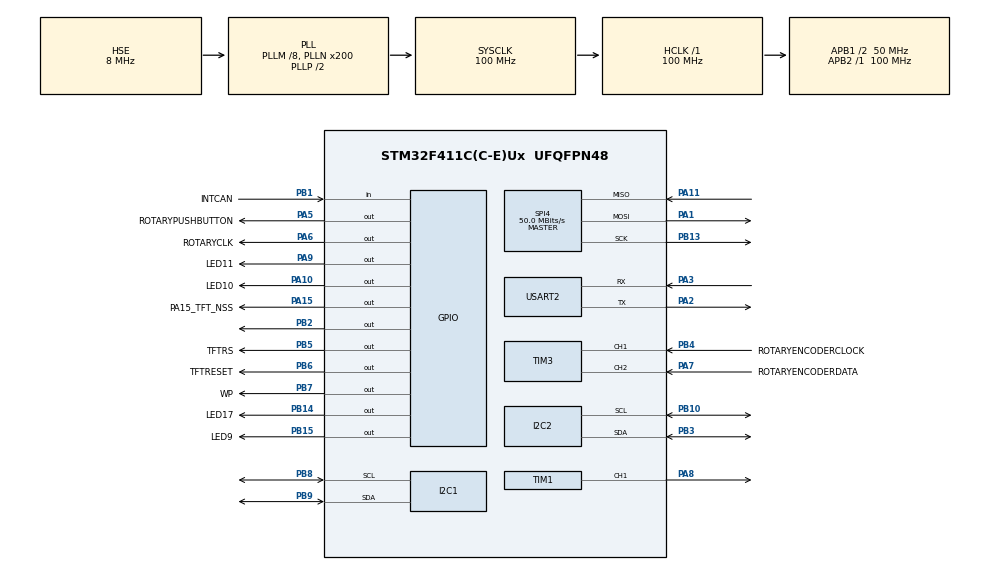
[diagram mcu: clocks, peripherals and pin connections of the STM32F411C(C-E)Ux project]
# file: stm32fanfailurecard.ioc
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FREERTOS.Tasks01=defaultTask,24,128,StartDefaultTask,Default,NULL,Dynamic,NULL,NULL
FREERTOS.configTOTAL_HEAP_SIZE=15000
Mcu.Family=STM32F4
Mcu.Name=STM32F411C(C-E)Ux
Mcu.Package=UFQFPN48
NVIC.PriorityGroup=NVIC_PRIORITYGROUP_4
NVIC.TIM4_IRQn=true\:0\:0\:true\:false\:true\:false\:false\:true\:true
NVIC.TimeBase=TIM4_IRQn
NVIC.TimeBaseIP=TIM4
PA1.Mode=Full_Duplex_Master
PA1.Signal=SPI4_MOSI
PA10.GPIO_Label=LED10
PA10.Signal=GPIO_Output
PA11.Mode=Full_Duplex_Master
PA11.Signal=SPI4_MISO
PA13.Signal=SYS_JTMS-SWDIO
PA14.Signal=SYS_JTCK-SWCLK
PA15.GPIO_Label=PA15_TFT_NSS
PA15.Signal=GPIO_Output
PA2.Mode=Asynchronous
PA2.Signal=USART2_TX
PA3.Mode=Asynchronous
PA3.Signal=USART2_RX
PA5.GPIO_Label=ROTARYPUSHBUTTON
PA5.Signal=GPIO_Output
PA6.GPIO_Label=ROTARYCLK
PA6.Signal=GPIO_Output
PA7.GPIO_Label=ROTARYENCODERDATA
PA7.Signal=S_TIM3_CH2
PA8.Signal=S_TIM1_CH1
PA9.GPIO_Label=LED11
PA9.Signal=GPIO_Output
PB1.GPIO_Label=INTCAN
PB1.Signal=GPIO_Input
PB10.Mode=I2C
PB10.Signal=I2C2_SCL
PB12.Signal=SPI4_NSS
PB13.Mode=Full_Duplex_Master
PB13.Signal=SPI4_SCK
PB14.GPIO_Label=LED17
PB14.Signal=GPIO_Output
PB15.GPIO_Label=LED9
PB15.Signal=GPIO_Output
PB2.Signal=GPIO_Output
PB3.Mode=I2C
PB3.Signal=I2C2_SDA
PB4.GPIO_Label=ROTARYENCODERCLOCK
PB4.Signal=S_TIM3_CH1
PB5.GPIO_Label=TFTRS
PB5.Signal=GPIO_Output
PB6.GPIO_Label=TFTRESET
PB6.Signal=GPIO_Output
PB7.GPIO_Label=WP
PB7.GPIO_Speed=GPIO_SPEED_FREQ_LOW
PB7.PinState=GPIO_PIN_SET
PB7.Signal=GPIO_Output
PB8.Mode=I2C
PB8.Signal=I2C1_SCL
PB9.Mode=I2C
PB9.Signal=I2C1_SDA
PC14-OSC32_IN.Mode=LSE-External-Oscillator
PC14-OSC32_IN.Signal=RCC_OSC32_IN
PC15-OSC32_OUT.Mode=LSE-External-Oscillator
PC15-OSC32_OUT.Signal=RCC_OSC32_OUT
PH0\ -\ OSC_IN.Mode=HSE-External-Oscillator
PH0\ -\ OSC_IN.Signal=RCC_OSC_IN
PH1\ -\ OSC_OUT.Mode=HSE-External-Oscillator
PH1\ -\ OSC_OUT.Signal=RCC_OSC_OUT
ProjectManager.HeapSize=0x200
ProjectManager.StackSize=0x400
ProjectManager.TargetToolchain=STM32CubeIDE
RCC.48MHZClocksFreq_Value=50000000
RCC.AHBFreq_Value=100000000
RCC.APB1CLKDivider=RCC_HCLK_DIV2
RCC.APB1Freq_Value=50000000
RCC.APB1TimFreq_Value=100000000
RCC.APB2Freq_Value=100000000
RCC.APB2TimFreq_Value=100000000
RCC.CortexFreq_Value=100000000
RCC.HCLKFreq_Value=100000000
RCC.HSE_VALUE=8000000
RCC.HSI_VALUE=16000000
RCC.PLLM=8
RCC.PLLN=200
RCC.PLLSourceVirtual=RCC_PLLSOURCE_HSE
RCC.SYSCLKFreq_VALUE=100000000
RCC.SYSCLKSource=RCC_SYSCLKSOURCE_PLLCLK
RCC.VCOOutputFreq_Value=200000000
SH.S_TIM1_CH1.0=TIM1_CH1,PWM Generation1 CH1
SH.S_TIM3_CH1.0=TIM3_CH1,Encoder_Interface
SH.S_TIM3_CH2.0=TIM3_CH2,Encoder_Interface
SPI4.BaudRatePrescaler=SPI_BAUDRATEPRESCALER_2
SPI4.CalculateBaudRate=50.0 MBits/s
SPI4.Direction=SPI_DIRECTION_2LINES
SPI4.Mode=SPI_MODE_MASTER
SPI4.VirtualType=VM_MASTER
TIM1.Channel-PWM\ Generation1\ CH1=TIM_CHANNEL_1
TIM3.EncoderMode=TIM_ENCODERMODE_TI12
TIM3.IC1Filter=15
USART2.VirtualMode=VM_ASYNC
VP_FREERTOS_VS_CMSIS_V2.Mode=CMSIS_V2
VP_RTC_VS_RTC_Activate.Mode=RTC_Enabled
VP_RTC_VS_RTC_Calendar.Mode=RTC_Calendar
VP_SYS_VS_tim4.Mode=TIM4
board=custom

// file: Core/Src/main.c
/* USER CODE BEGIN Header */
/**
  ******************************************************************************
  * @file           : main.c
  * @brief          : I2C scan + AT24CM01 self-test, ADS1115 NTC readout,
  *                   and a simple blocking WS2812B PWM+DMA driver.
  ******************************************************************************
  */
/* USER CODE END Header */
#include "main.h"
#include "cmsis_os.h"

/* USER CODE BEGIN Includes */
#include "at24cm01.h"
#include <string.h>
#include <stdbool.h>
#define NTC_VDD        3.3f
#define NTC_R_FIXED    10000.0f
#define NTC_R0         10000.0f
#define NTC_BETA       3950.0f
#define NTC_ON_BOTTOM  1        // 1 = NTC to GND, 0 = NTC to 3.3V

volatile float ntc_voltage[8];
volatile float ntc_temp[8];

/* USER CODE END Includes */

/* USER CODE BEGIN PD */

/* ---- Scanner configuration ---- */
#define I2C_SCAN_ADDR_FIRST        0x08u
#define I2C_SCAN_ADDR_LAST         0x77u
#define I2C_SCAN_ADDR_COUNT        (I2C_SCAN_ADDR_LAST - I2C_SCAN_ADDR_FIRST + 1u)  /* 112 */
#define I2C_SCAN_PROBE_TIMEOUT_MS  5u
#define I2C_SCAN_RETRIES           1u

/* ---- Write/verify configuration ---- */
#define TEST_STRING_ADDR           0x001000u

/* ---- WS2812B ----
 * TIM1 clock = 100 MHz (SYSCLK 100 MHz, APB2 /1 -> timer clock 100 MHz).
 * Prescaler = 0, Period = 124 -> 125 ticks -> 800 kHz bit rate.
 * T0H = 35 ticks = 350 ns, T1H = 70 ticks = 700 ns.
 * If you change the clock or Period, recompute these (~28% / ~56% of ARR+1). */
#define WS2812_BIT_0_CCR            35u
#define WS2812_BIT_1_CCR            70u
#define WS2812_BITS_PER_LED         24u

/* USER CODE END PD */

I2C_HandleTypeDef hi2c1;
I2C_HandleTypeDef hi2c2;

RTC_HandleTypeDef hrtc;

SPI_HandleTypeDef hspi4;

TIM_HandleTypeDef htim1;
TIM_HandleTypeDef htim3;

UART_HandleTypeDef huart2;

/* Definitions for defaultTask */
osThreadId_t defaultTaskHandle;
const osThreadAttr_t defaultTask_attributes = {
  .name = "defaultTask",
  .stack_size = 128 * 4,
  .priority = (osPriority_t) osPriorityNormal,
};
/* USER CODE BEGIN PV */
osMutexId_t i2c1Mutex;
osMutexId_t i2c2Mutex;
const osMutexAttr_t i2c1Mutex_attr = { .name = "i2c1Mutex" };
const osMutexAttr_t i2c2Mutex_attr = { .name = "i2c2Mutex" };
/* ---- NTC / ADS1115 ---- */
volatile int16_t ntc1raw = 0;
volatile int16_t ntc2raw = 0;
volatile int16_t ntc3raw = 0;
volatile int16_t ntc4raw = 0;
volatile int16_t ntc5raw = 0;
volatile int16_t ntc6raw = 0;
volatile int16_t ntc7raw = 0;
volatile int16_t ntc8raw = 0;

volatile int16_t fan1raw = 0;
volatile int16_t fan2raw = 0;
volatile int16_t fan3raw = 0;
volatile int16_t fan4raw = 0;
volatile int16_t fan5raw = 0;
volatile int16_t fan6raw = 0;
volatile int16_t fan7raw = 0;
volatile int16_t fan8raw = 0;

volatile int g_status0 = -1;
volatile int g_status1 = -1;
volatile int g_status2 = -1;
volatile int g_status3 = -1;
/* ---- Scanner results ---- */
volatile uint32_t g_i2c1_found_bitmap[4] = {0};
volatile uint32_t g_i2c2_found_bitmap[4] = {0};

volatile uint8_t  g_i2c1_found_list[I2C_SCAN_ADDR_COUNT] = {0};
volatile uint8_t  g_i2c1_found_count = 0;
volatile uint8_t  g_i2c2_found_list[I2C_SCAN_ADDR_COUNT] = {0};
volatile uint8_t  g_i2c2_found_count = 0;

volatile uint32_t g_i2c1_probe_total  = 0;
volatile uint32_t g_i2c1_probe_errors = 0;
volatile uint32_t g_i2c2_probe_total  = 0;
volatile uint32_t g_i2c2_probe_errors = 0;

volatile bool     g_any_device_found  = false;

/* ---- Write / verify results ---- */
static const char g_write_string[] = "Hello AT24CM01!";

volatile char        g_readback[64]        = {0};
volatile uint16_t    g_readback_len        = 0;

volatile bool        g_write_ok            = false;
volatile bool        g_read_ok             = false;
volatile bool        g_match_ok            = false;
volatile bool        g_eeprom_overall_ok   = false;

volatile int         g_write_status        = -1;
volatile int         g_read_status         = -1;
volatile uint32_t    g_test_addr           = TEST_STRING_ADDR;
volatile uint16_t    g_test_len            = 0;

volatile bool        g_all_ok              = false;

/* ---- WS2812B state ---- */
static uint16_t g_ws2812_pwm_data[WS2812_BITS_PER_LED];
static volatile uint8_t g_ws2812_data_sent_flag = 0;

/* USER CODE END PV */

void SystemClock_Config(void);
static void MX_GPIO_Init(void);
static void MX_I2C1_Init(void);
static void MX_I2C2_Init(void);
static void MX_RTC_Init(void);
static void MX_SPI4_Init(void);
static void MX_USART2_UART_Init(void);
static void MX_TIM3_Init(void);
static void MX_TIM1_Init(void);
void StartDefaultTask(void *argument);

/* USER CODE BEGIN 0 */

static float raw_to_volts(int16_t raw)
{
    return raw * (4.096f / 32768.0f);
}

static float volts_to_celsius(float v)
{
    if (v <= 0.0f || v >= NTC_VDD) return -273.15f;   // invalid reading

#if NTC_ON_BOTTOM
    float r = NTC_R_FIXED * v / (NTC_VDD - v);
#else
    float r = NTC_R_FIXED * (NTC_VDD - v) / v;
#endif

    float inv_t = (1.0f / 298.15f) + (1.0f / NTC_BETA) * logf(r / NTC_R0);
    return (1.0f / inv_t) - 273.15f;
}
/* ======================================================================== */
/*  SCANNER                                                                 */
/* ======================================================================== */

static void ads_read(I2C_HandleTypeDef *h, osMutexId_t mtx,
                     uint8_t addr7, uint8_t ch, volatile int16_t *dst)
{
    uint8_t config[2];
    uint8_t rx[2];

    config[0] = 0xC3 + (ch << 4);   /* ch0=C3, ch1=D3, ch2=E3, ch3=F3 */
    config[1] = 0x83;               /* 128 SPS, comparator off */

    osMutexAcquire(mtx, osWaitForever);      /* take the key */
    HAL_I2C_Mem_Write(h, (addr7 << 1), 0x01, I2C_MEMADD_SIZE_8BIT, config, 2, 100);
    osMutexRelease(mtx);                     /* give it back */

    osDelay(20);                             /* wait for conversion, other tasks can run */

    osMutexAcquire(mtx, osWaitForever);
    HAL_I2C_Mem_Read(h, (addr7 << 1), 0x00, I2C_MEMADD_SIZE_8BIT, rx, 2, 100);
    osMutexRelease(mtx);

    *dst = (int16_t)((rx[0] << 8) | rx[1]);
}

void ReadAllSensors(void)
{
    /* ---- NTC on hi2c2, ADS 0x4A ---- */
    ads_read(&hi2c2, i2c2Mutex, 0x4A, 0, &ntc4raw);
    ads_read(&hi2c2, i2c2Mutex, 0x4A, 1, &ntc3raw);
    ads_read(&hi2c2, i2c2Mutex, 0x4A, 2, &ntc2raw);
    ads_read(&hi2c2, i2c2Mutex, 0x4A, 3, &ntc1raw);

    /* ---- NTC on hi2c1, ADS 0x48 ---- */
    ads_read(&hi2c1, i2c1Mutex, 0x48, 0, &ntc8raw);
    ads_read(&hi2c1, i2c1Mutex, 0x48, 1, &ntc7raw);
    ads_read(&hi2c1, i2c1Mutex, 0x48, 2, &ntc6raw);
    ads_read(&hi2c1, i2c1Mutex, 0x48, 3, &ntc5raw);

    /* ---- Fans on hi2c2, ADS 0x48 ---- */
    ads_read(&hi2c2, i2c2Mutex, 0x48, 0, &fan1raw);
    ads_read(&hi2c2, i2c2Mutex, 0x48, 1, &fan2raw);
    ads_read(&hi2c2, i2c2Mutex, 0x48, 2, &fan3raw);
    ads_read(&hi2c2, i2c2Mutex, 0x48, 3, &fan4raw);

    /* ---- Fans on hi2c2, ADS 0x49 ---- */
    ads_read(&hi2c2, i2c2Mutex, 0x49, 0, &fan5raw);
    ads_read(&hi2c2, i2c2Mutex, 0x49, 1, &fan6raw);
    ads_read(&hi2c2, i2c2Mutex, 0x49, 2, &fan7raw);
    ads_read(&hi2c2, i2c2Mutex, 0x49, 3, &fan8raw);

    /* ---- Voltage and temperature (same as before) ---- */
    ntc_voltage[0] = raw_to_volts(ntc1raw);
    ntc_voltage[1] = raw_to_volts(ntc2raw);
    ntc_voltage[2] = raw_to_volts(ntc3raw);
    ntc_voltage[3] = raw_to_volts(ntc4raw);
    ntc_voltage[4] = raw_to_volts(ntc5raw);
    ntc_voltage[5] = raw_to_volts(ntc6raw);
    ntc_voltage[6] = raw_to_volts(ntc7raw);
    ntc_voltage[7] = raw_to_volts(ntc8raw);

    for (int i = 0; i < 8; i++)
    {
        ntc_temp[i] = volts_to_celsius(ntc_voltage[i]);
    }
}

void SensorTask(void *argument)
{
    for (;;)
    {
        ReadAllSensors();   /* read all 16 channels + calculate temperatures */
        osDelay(100);       /* rest 100 ms, then repeat */
    }
}

static HAL_StatusTypeDef I2C_ProbeAddress(I2C_HandleTypeDef *hi2c, uint8_t addr7)
{
    HAL_StatusTypeDef st = HAL_ERROR;

    for (uint8_t attempt = 0; attempt < I2C_SCAN_RETRIES; attempt++)
    {
        st = HAL_I2C_IsDeviceReady(hi2c,
                                   (uint16_t)(addr7 << 1),
                                   1,
                                   I2C_SCAN_PROBE_TIMEOUT_MS);
        if (st == HAL_OK)
        {
            break;
        }
    }

    return st;
}

static void I2C_ScanBus(I2C_HandleTypeDef *hi2c,
                        volatile uint32_t bitmap[4],
                        volatile uint8_t  list[I2C_SCAN_ADDR_COUNT],
                        volatile uint8_t *count,
                        volatile uint32_t *errors)
{
    uint32_t local_bitmap[4] = {0};
    uint8_t  local_count     = 0;
    uint32_t local_errors    = 0;

    for (uint8_t addr = I2C_SCAN_ADDR_FIRST; addr <= I2C_SCAN_ADDR_LAST; addr++)
    {
        HAL_StatusTypeDef st = I2C_ProbeAddress(hi2c, addr);

        if (st == HAL_OK)
        {
            uint8_t idx = (uint8_t)(addr - I2C_SCAN_ADDR_FIRST);
            local_bitmap[idx >> 5] |= (1u << (idx & 0x1Fu));

            if (local_count < I2C_SCAN_ADDR_COUNT)
            {
                list[local_count++] = addr;
            }
        }
        else if (st != HAL_ERROR)
        {
            local_errors++;
        }
    }

    for (int i = 0; i < 4; i++)
    {
        bitmap[i] = local_bitmap[i];
    }
    *count  = local_count;
    *errors = local_errors;
}

static void I2C_ScanAll(void)
{
    I2C_ScanBus(&hi2c1,
                g_i2c1_found_bitmap,
                g_i2c1_found_list,
                &g_i2c1_found_count,
                &g_i2c1_probe_errors);

    I2C_ScanBus(&hi2c2,
                g_i2c2_found_bitmap,
                g_i2c2_found_list,
                &g_i2c2_found_count,
                &g_i2c2_probe_errors);

    g_i2c1_probe_total = I2C_SCAN_ADDR_COUNT;
    g_i2c2_probe_total = I2C_SCAN_ADDR_COUNT;

    g_any_device_found = (g_i2c1_found_count > 0) || (g_i2c2_found_count > 0);
}

/* ======================================================================== */
/*  WRITE / VERIFY                                                          */
/* ======================================================================== */

static void AT24CM01_WriteAndVerify(void)
{
    g_test_len = (uint16_t)(sizeof(g_write_string));

    g_write_status = (int)AT24CM01_Write(&hi2c1,
                                         g_test_addr,
                                         (const uint8_t *)g_write_string,
                                         g_test_len);
    g_write_ok = (g_write_status == (int)HAL_OK);

    if (!g_write_ok)
    {
        return;
    }

    memset((void *)g_readback, 0, sizeof(g_readback));

    g_read_status = (int)AT24CM01_Read(&hi2c1,
                                       g_test_addr,
                                       (uint8_t *)g_readback,
                                       g_test_len);
    g_read_ok = (g_read_status == (int)HAL_OK);

    if (!g_read_ok)
    {
        return;
    }

    g_readback_len = g_test_len;
    g_match_ok = (memcmp((const void *)g_readback,
                         g_write_string,
                         g_test_len) == 0);

    g_eeprom_overall_ok = g_write_ok && g_read_ok && g_match_ok;
}

/* ======================================================================== */
/*  WS2812B PWM + DMA DRIVER -- single-shot, blocking                       */
/* ======================================================================== */

/**
  * @brief  Send one 24-bit colour word (wire order G R B, MSB first).
  * @note   Blocks until the DMA transfer completes (with a timeout so a
  *         missing DMA setup can't hang the firmware forever).
  */
void WS2812_Send(uint32_t color)
{
    for (int i = 0; i < (int)WS2812_BITS_PER_LED; i++)
    {
        uint32_t bit = (color >> (23 - i)) & 1u;
        g_ws2812_pwm_data[i] = bit ? WS2812_BIT_1_CCR : WS2812_BIT_0_CCR;
    }

    g_ws2812_data_sent_flag = 0;
    if (HAL_TIM_PWM_Start_DMA(&htim1, TIM_CHANNEL_1,
                              (uint32_t *)g_ws2812_pwm_data,
                              WS2812_BITS_PER_LED) != HAL_OK)
    {
        Error_Handler();
    }

    uint32_t start = HAL_GetTick();
    while (!g_ws2812_data_sent_flag)
    {
        if ((HAL_GetTick() - start) > 10u)
        {
            HAL_TIM_PWM_Stop_DMA(&htim1, TIM_CHANNEL_1);
            break;
        }
    }
    g_ws2812_data_sent_flag = 0;
}

/* USER CODE END 0 */

int main(void)
{

  /* MCU Configuration--------------------------------------------------------*/

  /* Reset of all peripherals, Initializes the Flash interface and the Systick. */
  HAL_Init();

  /* Configure the system clock */
  SystemClock_Config();

  /* Initialize all configured peripherals */
  MX_GPIO_Init();
  MX_I2C1_Init();
  MX_I2C2_Init();
  MX_RTC_Init();
  MX_SPI4_Init();
  MX_USART2_UART_Init();
  MX_TIM3_Init();
  MX_TIM1_Init();
  /* USER CODE BEGIN 2 */
  HAL_StatusTypeDef ads_ready = HAL_I2C_IsDeviceReady(&hi2c2,
                                                       (0x4A << 1),
                                                       3,
                                                       100);
  volatile int ads_found = (ads_ready == HAL_OK) ? 1 : 0;
  (void)ads_found;

  /* 10k fixed resistor, 3.3 V divider, 10k NTC, beta 3950 */

  /* Park WP high before anything else touches the bus. */
  AT24CM01_WP_Init();

  /* Phase 1: scan both I2C buses */
  I2C_ScanAll();

  /* Phase 2: write/read/verify the AT24CM01 */
  AT24CM01_WriteAndVerify();

  g_all_ok = (g_i2c1_probe_errors == 0) &&
             (g_i2c2_probe_errors == 0) &&
             g_eeprom_overall_ok;

  /* Phase 3: WS2812B -- full red (G=0x00, R=0xFF, B=0x00) */
  /* USER CODE END 2 */

  /* Init scheduler */
  osKernelInitialize();

  /* USER CODE BEGIN RTOS_MUTEX */
  /* add mutexes, ... */

  i2c1Mutex = osMutexNew(&i2c1Mutex_attr);
  i2c2Mutex = osMutexNew(&i2c2Mutex_attr);
  /* USER CODE END RTOS_MUTEX */

  /* Create the thread(s) */
  /* creation of defaultTask */
  defaultTaskHandle = osThreadNew(StartDefaultTask, NULL, &defaultTask_attributes);

  /* USER CODE BEGIN RTOS_THREADS */
  const osThreadAttr_t sensorTask_attr = {
    .name = "sensorTask",
    .stack_size = 512 * 4,
    .priority = osPriorityNormal
  };
  osThreadNew(SensorTask, NULL, &sensorTask_attr);

  /* add threads, ... */
  /* USER CODE END RTOS_THREADS */

  /* Start scheduler */
  osKernelStart();

  /* We should never get here as control is now taken by the scheduler */

  /* Infinite loop */
  while (1)
  {

    /* USER CODE BEGIN 3 */

  }

    HAL_Delay(1000);
  /* USER CODE END 3 */
}

void SystemClock_Config(void)
{
  RCC_OscInitTypeDef RCC_OscInitStruct = {0};
  RCC_ClkInitTypeDef RCC_ClkInitStruct = {0};

  /** Configure the main internal regulator output voltage
  */
  __HAL_RCC_PWR_CLK_ENABLE();
  __HAL_PWR_VOLTAGESCALING_CONFIG(PWR_REGULATOR_VOLTAGE_SCALE1);

  /** Initializes the RCC Oscillators according to the specified parameters
  * in the RCC_OscInitTypeDef structure.
  */
  RCC_OscInitStruct.OscillatorType = RCC_OSCILLATORTYPE_LSI|RCC_OSCILLATORTYPE_HSE;
  RCC_OscInitStruct.HSEState = RCC_HSE_ON;
  RCC_OscInitStruct.LSIState = RCC_LSI_ON;
  RCC_OscInitStruct.PLL.PLLState = RCC_PLL_ON;
  RCC_OscInitStruct.PLL.PLLSource = RCC_PLLSOURCE_HSE;
  RCC_OscInitStruct.PLL.PLLM = 8;
  RCC_OscInitStruct.PLL.PLLN = 200;
  RCC_OscInitStruct.PLL.PLLP = RCC_PLLP_DIV2;
  RCC_OscInitStruct.PLL.PLLQ = 4;
  if (HAL_RCC_OscConfig(&RCC_OscInitStruct) != HAL_OK)
  {
    Error_Handler();
  }

  /** Initializes the CPU, AHB and APB buses clocks
  */
  RCC_ClkInitStruct.ClockType = RCC_CLOCKTYPE_HCLK|RCC_CLOCKTYPE_SYSCLK
                              |RCC_CLOCKTYPE_PCLK1|RCC_CLOCKTYPE_PCLK2;
  RCC_ClkInitStruct.SYSCLKSource = RCC_SYSCLKSOURCE_PLLCLK;
  RCC_ClkInitStruct.AHBCLKDivider = RCC_SYSCLK_DIV1;
  RCC_ClkInitStruct.APB1CLKDivider = RCC_HCLK_DIV2;
  RCC_ClkInitStruct.APB2CLKDivider = RCC_HCLK_DIV1;

  if (HAL_RCC_ClockConfig(&RCC_ClkInitStruct, FLASH_LATENCY_3) != HAL_OK)
  {
    Error_Handler();
  }
}

static void MX_I2C1_Init(void)
{

  hi2c1.Instance = I2C1;
  hi2c1.Init.ClockSpeed = 100000;
  hi2c1.Init.DutyCycle = I2C_DUTYCYCLE_2;
  hi2c1.Init.OwnAddress1 = 0;
  hi2c1.Init.AddressingMode = I2C_ADDRESSINGMODE_7BIT;
  hi2c1.Init.DualAddressMode = I2C_DUALADDRESS_DISABLE;
  hi2c1.Init.OwnAddress2 = 0;
  hi2c1.Init.GeneralCallMode = I2C_GENERALCALL_DISABLE;
  hi2c1.Init.NoStretchMode = I2C_NOSTRETCH_DISABLE;
  if (HAL_I2C_Init(&hi2c1) != HAL_OK)
  {
    Error_Handler();
  }

}

static void MX_I2C2_Init(void)
{

  hi2c2.Instance = I2C2;
  hi2c2.Init.ClockSpeed = 100000;
  hi2c2.Init.DutyCycle = I2C_DUTYCYCLE_2;
  hi2c2.Init.OwnAddress1 = 0;
  hi2c2.Init.AddressingMode = I2C_ADDRESSINGMODE_7BIT;
  hi2c2.Init.DualAddressMode = I2C_DUALADDRESS_DISABLE;
  hi2c2.Init.OwnAddress2 = 0;
  hi2c2.Init.GeneralCallMode = I2C_GENERALCALL_DISABLE;
  hi2c2.Init.NoStretchMode = I2C_NOSTRETCH_DISABLE;
  if (HAL_I2C_Init(&hi2c2) != HAL_OK)
  {
    Error_Handler();
  }

}

static void MX_RTC_Init(void)
{

  RTC_TimeTypeDef sTime = {0};
  RTC_DateTypeDef sDate = {0};

  /** Initialize RTC Only
  */
  hrtc.Instance = RTC;
  hrtc.Init.HourFormat = RTC_HOURFORMAT_24;
  hrtc.Init.AsynchPrediv = 127;
  hrtc.Init.SynchPrediv = 255;
  hrtc.Init.OutPut = RTC_OUTPUT_DISABLE;
  hrtc.Init.OutPutPolarity = RTC_OUTPUT_POLARITY_HIGH;
  hrtc.Init.OutPutType = RTC_OUTPUT_TYPE_OPENDRAIN;
  if (HAL_RTC_Init(&hrtc) != HAL_OK)
  {
    Error_Handler();
  }

  /** Initialize RTC and set the Time and Date
  */
  sTime.Hours = 0x0;
  sTime.Minutes = 0x0;
  sTime.Seconds = 0x0;
  sTime.DayLightSaving = RTC_DAYLIGHTSAVING_NONE;
  sTime.StoreOperation = RTC_STOREOPERATION_RESET;
  if (HAL_RTC_SetTime(&hrtc, &sTime, RTC_FORMAT_BCD) != HAL_OK)
  {
    Error_Handler();
  }
  sDate.WeekDay = RTC_WEEKDAY_MONDAY;
  sDate.Month = RTC_MONTH_JANUARY;
  sDate.Date = 0x1;
  sDate.Year = 0x0;

  if (HAL_RTC_SetDate(&hrtc, &sDate, RTC_FORMAT_BCD) != HAL_OK)
  {
    Error_Handler();
  }

}

static void MX_SPI4_Init(void)
{

  /* SPI4 parameter configuration*/
  hspi4.Instance = SPI4;
  hspi4.Init.Mode = SPI_MODE_MASTER;
  hspi4.Init.Direction = SPI_DIRECTION_2LINES;
  hspi4.Init.DataSize = SPI_DATASIZE_8BIT;
  hspi4.Init.CLKPolarity = SPI_POLARITY_LOW;
  hspi4.Init.CLKPhase = SPI_PHASE_1EDGE;
  hspi4.Init.NSS = SPI_NSS_SOFT;
  hspi4.Init.BaudRatePrescaler = SPI_BAUDRATEPRESCALER_2;
  hspi4.Init.FirstBit = SPI_FIRSTBIT_MSB;
  hspi4.Init.TIMode = SPI_TIMODE_DISABLE;
  hspi4.Init.CRCCalculation = SPI_CRCCALCULATION_DISABLE;
  hspi4.Init.CRCPolynomial = 10;
  if (HAL_SPI_Init(&hspi4) != HAL_OK)
  {
    Error_Handler();
  }

}

static void MX_TIM1_Init(void)
{

  TIM_MasterConfigTypeDef sMasterConfig = {0};
  TIM_OC_InitTypeDef sConfigOC = {0};
  TIM_BreakDeadTimeConfigTypeDef sBreakDeadTimeConfig = {0};

  htim1.Instance = TIM1;
  htim1.Init.Prescaler = 0;
  htim1.Init.CounterMode = TIM_COUNTERMODE_UP;
  htim1.Init.Period = 65535;
  htim1.Init.ClockDivision = TIM_CLOCKDIVISION_DIV1;
  htim1.Init.RepetitionCounter = 0;
  htim1.Init.AutoReloadPreload = TIM_AUTORELOAD_PRELOAD_DISABLE;
  if (HAL_TIM_PWM_Init(&htim1) != HAL_OK)
  {
    Error_Handler();
  }
  sMasterConfig.MasterOutputTrigger = TIM_TRGO_RESET;
  sMasterConfig.MasterSlaveMode = TIM_MASTERSLAVEMODE_DISABLE;
  if (HAL_TIMEx_MasterConfigSynchronization(&htim1, &sMasterConfig) != HAL_OK)
  {
    Error_Handler();
  }
  sConfigOC.OCMode = TIM_OCMODE_PWM1;
  sConfigOC.Pulse = 0;
  sConfigOC.OCPolarity = TIM_OCPOLARITY_HIGH;
  sConfigOC.OCNPolarity = TIM_OCNPOLARITY_HIGH;
  sConfigOC.OCFastMode = TIM_OCFAST_DISABLE;
  sConfigOC.OCIdleState = TIM_OCIDLESTATE_RESET;
  sConfigOC.OCNIdleState = TIM_OCNIDLESTATE_RESET;
  if (HAL_TIM_PWM_ConfigChannel(&htim1, &sConfigOC, TIM_CHANNEL_1) != HAL_OK)
  {
    Error_Handler();
  }
  sBreakDeadTimeConfig.OffStateRunMode = TIM_OSSR_DISABLE;
  sBreakDeadTimeConfig.OffStateIDLEMode = TIM_OSSI_DISABLE;
  sBreakDeadTimeConfig.LockLevel = TIM_LOCKLEVEL_OFF;
  sBreakDeadTimeConfig.DeadTime = 0;
  sBreakDeadTimeConfig.BreakState = TIM_BREAK_DISABLE;
  sBreakDeadTimeConfig.BreakPolarity = TIM_BREAKPOLARITY_HIGH;
  sBreakDeadTimeConfig.AutomaticOutput = TIM_AUTOMATICOUTPUT_DISABLE;
  if (HAL_TIMEx_ConfigBreakDeadTime(&htim1, &sBreakDeadTimeConfig) != HAL_OK)
  {
    Error_Handler();
  }
  HAL_TIM_MspPostInit(&htim1);

}

static void MX_TIM3_Init(void)
{

  TIM_Encoder_InitTypeDef sConfig = {0};
  TIM_MasterConfigTypeDef sMasterConfig = {0};

  htim3.Instance = TIM3;
  htim3.Init.Prescaler = 0;
  htim3.Init.CounterMode = TIM_COUNTERMODE_UP;
  htim3.Init.Period = 65535;
  htim3.Init.ClockDivision = TIM_CLOCKDIVISION_DIV1;
  htim3.Init.AutoReloadPreload = TIM_AUTORELOAD_PRELOAD_DISABLE;
  sConfig.EncoderMode = TIM_ENCODERMODE_TI12;
  sConfig.IC1Polarity = TIM_ICPOLARITY_RISING;
  sConfig.IC1Selection = TIM_ICSELECTION_DIRECTTI;
  sConfig.IC1Prescaler = TIM_ICPSC_DIV1;
  sConfig.IC1Filter = 15;
  sConfig.IC2Polarity = TIM_ICPOLARITY_RISING;
  sConfig.IC2Selection = TIM_ICSELECTION_DIRECTTI;
  sConfig.IC2Prescaler = TIM_ICPSC_DIV1;
  sConfig.IC2Filter = 0;
  if (HAL_TIM_Encoder_Init(&htim3, &sConfig) != HAL_OK)
  {
    Error_Handler();
  }
  sMasterConfig.MasterOutputTrigger = TIM_TRGO_RESET;
  sMasterConfig.MasterSlaveMode = TIM_MASTERSLAVEMODE_DISABLE;
  if (HAL_TIMEx_MasterConfigSynchronization(&htim3, &sMasterConfig) != HAL_OK)
  {
    Error_Handler();
  }

}

static void MX_USART2_UART_Init(void)
{

  huart2.Instance = USART2;
  huart2.Init.BaudRate = 115200;
  huart2.Init.WordLength = UART_WORDLENGTH_8B;
  huart2.Init.StopBits = UART_STOPBITS_1;
  huart2.Init.Parity = UART_PARITY_NONE;
  huart2.Init.Mode = UART_MODE_TX_RX;
  huart2.Init.HwFlowCtl = UART_HWCONTROL_NONE;
  huart2.Init.OverSampling = UART_OVERSAMPLING_16;
  if (HAL_UART_Init(&huart2) != HAL_OK)
  {
    Error_Handler();
  }

}

static void MX_GPIO_Init(void)
{
  GPIO_InitTypeDef GPIO_InitStruct = {0};

  /* GPIO Ports Clock Enable */
  __HAL_RCC_GPIOC_CLK_ENABLE();
  __HAL_RCC_GPIOH_CLK_ENABLE();
  __HAL_RCC_GPIOA_CLK_ENABLE();
  __HAL_RCC_GPIOB_CLK_ENABLE();

  /*Configure GPIO pin Output Level */
  HAL_GPIO_WritePin(GPIOA, ROTARYPUSHBUTTON_Pin|ROTARYCLK_Pin|LED11_Pin|LED10_Pin
                          |PA15_TFT_NSS_Pin, GPIO_PIN_RESET);

  /*Configure GPIO pin Output Level */
  HAL_GPIO_WritePin(GPIOB, GPIO_PIN_2|LED17_Pin|LED9_Pin|TFTRS_Pin
                          |TFTRESET_Pin, GPIO_PIN_RESET);

  /*Configure GPIO pin Output Level */
  HAL_GPIO_WritePin(WP_GPIO_Port, WP_Pin, GPIO_PIN_SET);

  /*Configure GPIO pins : ROTARYPUSHBUTTON_Pin ROTARYCLK_Pin LED11_Pin LED10_Pin
                           PA15_TFT_NSS_Pin */
  GPIO_InitStruct.Pin = ROTARYPUSHBUTTON_Pin|ROTARYCLK_Pin|LED11_Pin|LED10_Pin
                          |PA15_TFT_NSS_Pin;
  GPIO_InitStruct.Mode = GPIO_MODE_OUTPUT_PP;
  GPIO_InitStruct.Pull = GPIO_NOPULL;
  GPIO_InitStruct.Speed = GPIO_SPEED_FREQ_LOW;
  HAL_GPIO_Init(GPIOA, &GPIO_InitStruct);

  /*Configure GPIO pin : INTCAN_Pin */
  GPIO_InitStruct.Pin = INTCAN_Pin;
  GPIO_InitStruct.Mode = GPIO_MODE_INPUT;
  GPIO_InitStruct.Pull = GPIO_NOPULL;
  HAL_GPIO_Init(INTCAN_GPIO_Port, &GPIO_InitStruct);

  /*Configure GPIO pins : PB2 LED17_Pin LED9_Pin TFTRS_Pin
                           TFTRESET_Pin WP_Pin */
  GPIO_InitStruct.Pin = GPIO_PIN_2|LED17_Pin|LED9_Pin|TFTRS_Pin
                          |TFTRESET_Pin|WP_Pin;
  GPIO_InitStruct.Mode = GPIO_MODE_OUTPUT_PP;
  GPIO_InitStruct.Pull = GPIO_NOPULL;
  GPIO_InitStruct.Speed = GPIO_SPEED_FREQ_LOW;
  HAL_GPIO_Init(GPIOB, &GPIO_InitStruct);

}

/* USER CODE BEGIN 4 */

/**
  * @brief  DMA transfer complete for TIM1 CH1: stop PWM (line idles low)
  *         and release WS2812_Send().
  */
void HAL_TIM_PWM_PulseFinishedCallback(TIM_HandleTypeDef *htim)
{
    if (htim->Instance == TIM1)
    {
        HAL_TIM_PWM_Stop_DMA(htim, TIM_CHANNEL_1);
        g_ws2812_data_sent_flag = 1;
    }
}

/* USART2 is used for Modbus in this project -- no printf retarget. */
/* USER CODE END 4 */

void StartDefaultTask(void *argument)
{
  for(;;)
  {
    osDelay(1);
  }
}

void HAL_TIM_PeriodElapsedCallback(TIM_HandleTypeDef *htim)
{
  if (htim->Instance == TIM4)
  {
    HAL_IncTick();
  }
}

void Error_Handler(void)
{
  /* USER CODE BEGIN Error_Handler_Debug */
  __disable_irq();
  while (1)
  {
    __NOP();
  }
  /* USER CODE END Error_Handler_Debug */
}
#ifdef USE_FULL_ASSERT
/**
  * @brief  Reports the name of the source file and the source line number
  *         where the assert_param error has occurred.
  * @param  file: pointer to the source file name
  * @param  line: assert_param error line source number
  * @retval None
  */
void assert_failed(uint8_t *file, uint32_t line)
{
  /* USER CODE BEGIN 6 */
  (void)file;
  (void)line;
  /* USER CODE END 6 */
}
#endif /* USE_FULL_ASSERT */
